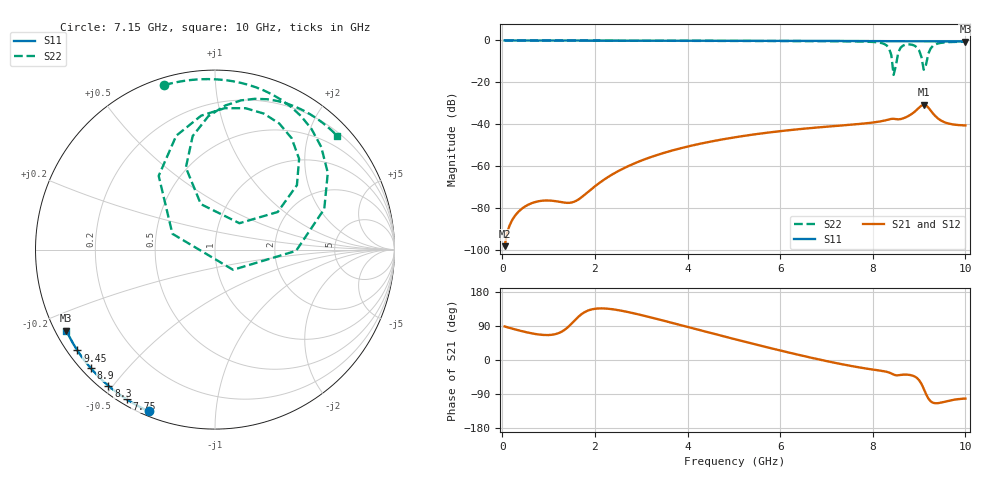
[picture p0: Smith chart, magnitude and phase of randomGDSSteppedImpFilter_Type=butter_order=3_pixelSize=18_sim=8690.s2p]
! freq	dB(S11)	phase(S11)	dB(S12)	phase(S12)
!  dB(S21)	phase(S21)	dB(S22)	phase(S22)
!S-par simulation data
#  GHz  S  DB  R 50
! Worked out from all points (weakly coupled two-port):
!   200 points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, 50 MHz to 10 GHz, reference 50 ohm
!   highest |S21| = -30.58 dB at 9.1 GHz (marker M1); lowest = -98.0 dB at 50 MHz (marker M2)
!   lowest |S11| = -0.5 dB at 10 GHz (marker M3), VSWR 34.10, Z = 1.56 - j12.7 ohm
!   |S11| at or under -10 dB: nowhere
!   |S22| runs from -16.4 to 0.0 dB; largest |S21 - S12| = 0
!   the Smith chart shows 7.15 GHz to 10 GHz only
!   S11 on the Smith chart (normalised r, x): 7.15 GHz: 0.02, -0.67; 7.75 GHz: 0.02, -0.57; 8.3 GHz: 0.02, -0.49; 8.9 GHz: 0.03, -0.40; 9.45 GHz: 0.03, -0.33; 10 GHz: 0.03, -0.25
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0.05  -0.00 -0.9  -98.03 88.5  -98.03 88.5  -0.01 -2.6
0.95  -0.02 -16.4  -76.25 65.8  -76.25 65.8  -0.06 -47.9
1.75  -0.04 -30.0  -74.05 124.2  -74.05 124.2  -0.09 -83.8
2.5  -0.05 -42.5  -62.30 131.7  -62.30 131.7  -0.12 -113.0
3.4  -0.08 -57.0  -54.18 106.4  -54.18 106.4  -0.14 -143.1
5.05  -0.13 -82.4  -46.05 54.0  -46.05 54.0  -0.21 168.9
6.7  -0.21 -106.1  -41.67 5.2  -41.67 5.2  -0.31 121.6
7.15  -0.24 -112.3  -40.83 -6.7  -40.83 -6.7  -0.36 107.1
7.75  -0.28 -120.6  -39.71 -20.4  -39.71 -20.4  -0.51 83.7
8.1  -0.31 -125.3  -38.81 -27.0  -38.81 -27.0  -0.90 62.0
8.3  -0.33 -128.1  -37.92 -31.2  -37.92 -31.2  -2.38 34.2
8.35  -0.33 -128.7  -37.63 -32.9  -37.63 -32.9  -3.75 20.4
8.4  -0.34 -129.4  -37.38 -35.4  -37.38 -35.4  -6.90 -0.9
8.45  -0.34 -130.1  -37.31 -38.5  -37.31 -38.5  -16.42 -48.2
8.55  -0.35 -131.5  -37.59 -40.3  -37.59 -40.3  -5.73 127.4
8.7  -0.36 -133.5  -36.74 -38.5  -36.74 -38.5  -2.05 86.0
8.9  -0.39 -136.2  -34.03 -43.2  -34.03 -43.2  -2.46 55.5
9  -0.40 -137.6  -32.01 -53.2  -32.01 -53.2  -4.72 38.2
9.1  -0.40 -138.9  -30.58 -75.7  -30.58 -75.7  -13.97 47.2
9.2  -0.41 -140.3  -31.99 -101.5  -31.99 -101.5  -6.29 109.6
9.45  -0.44 -143.8  -37.84 -113.0  -37.84 -113.0  -1.22 75.2
10  -0.51 -151.4  -40.50 -101.7  -40.50 -101.7  -0.63 42.9
